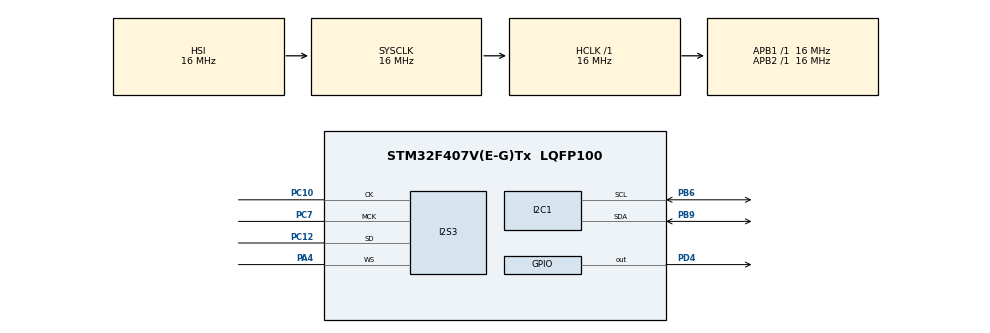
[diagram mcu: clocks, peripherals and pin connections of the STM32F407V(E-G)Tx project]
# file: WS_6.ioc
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Dma.Request0=SPI3_TX
Dma.SPI3_TX.0.Direction=DMA_MEMORY_TO_PERIPH
Dma.SPI3_TX.0.FIFOMode=DMA_FIFOMODE_ENABLE
Dma.SPI3_TX.0.FIFOThreshold=DMA_FIFO_THRESHOLD_FULL
Dma.SPI3_TX.0.Instance=DMA1_Stream5
Dma.SPI3_TX.0.MemBurst=DMA_MBURST_SINGLE
Dma.SPI3_TX.0.MemDataAlignment=DMA_MDATAALIGN_HALFWORD
Dma.SPI3_TX.0.MemInc=DMA_MINC_ENABLE
Dma.SPI3_TX.0.Mode=DMA_CIRCULAR
Dma.SPI3_TX.0.PeriphBurst=DMA_PBURST_SINGLE
Dma.SPI3_TX.0.PeriphDataAlignment=DMA_PDATAALIGN_HALFWORD
Dma.SPI3_TX.0.PeriphInc=DMA_PINC_DISABLE
Dma.SPI3_TX.0.Priority=DMA_PRIORITY_LOW
I2S3.AudioFreq=I2S_AUDIOFREQ_48K
I2S3.ErrorAudioFreq=-2.34 %
I2S3.FullDuplexMode=I2S_FULLDUPLEXMODE_DISABLE
I2S3.Instance=SPI$Index
I2S3.RealAudioFreq=46.875 KHz
I2S3.VirtualMode=I2S_MODE_MASTER
Mcu.Family=STM32F4
Mcu.Name=STM32F407V(E-G)Tx
Mcu.Package=LQFP100
NVIC.DMA1_Stream5_IRQn=true\:0\:0\:false\:false\:true\:false\:true\:true
NVIC.PriorityGroup=NVIC_PRIORITYGROUP_4
PA4.Mode=Half_Duplex_Master
PA4.Signal=I2S3_WS
PB6.Mode=I2C
PB6.Signal=I2C1_SCL
PB9.Mode=I2C
PB9.Signal=I2C1_SDA
PC10.Mode=Half_Duplex_Master
PC10.Signal=I2S3_CK
PC12.Mode=Half_Duplex_Master
PC12.Signal=I2S3_SD
PC7.Mode=Master_Clock_Activated
PC7.Signal=I2S3_MCK
PD4.Signal=GPIO_Output
ProjectManager.HeapSize=0x200
ProjectManager.StackSize=0x400
ProjectManager.TargetToolchain=STM32CubeIDE
RCC.AHBFreq_Value=16000000
RCC.APB1Freq_Value=16000000
RCC.APB2Freq_Value=16000000
RCC.CortexFreq_Value=16000000
RCC.HSE_VALUE=25000000
RCC.HSI_VALUE=16000000
RCC.LSE_VALUE=32768
RCC.SYSCLKFreq_VALUE=16000000
RCC.VCOOutputFreq_Value=192000000
board=custom

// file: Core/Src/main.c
/* USER CODE BEGIN Header */
/**
  ******************************************************************************
  * @file           : main.c
  * @brief          : Main program body
  ******************************************************************************
  * @attention
  *
  * Copyright (c) 2025 STMicroelectronics.
  * All rights reserved.
  *
  * This software is licensed under terms that can be found in the LICENSE file
  * in the root directory of this software component.
  * If no LICENSE file comes with this software, it is provided AS-IS.
  *
  ******************************************************************************
  */
/* USER CODE END Header */
#include "main.h"

/* USER CODE BEGIN PTD */
typedef enum
{
	C4, // 0x0
	C5, // 0x1
	D5, // 0x2
	E5, // 0x3
	F5, // 0x4
	G5, // 0x5
	A5, // 0x6
	B5, // 0x7
	C6, // 0x8
	D6, // 0x9
	E6, // 0xA
	F6, // 0xB
	G6, // 0xC
	A6, // 0xD
	B6, // 0xE
	C7, // 0xF
	MAX_VALUE
} soundToneType;
/* USER CODE END PTD */

/* USER CODE BEGIN PD */
#define CS43L22_I2C_ADDRESS		0x94
#define I2C_TIMEOUT				10
/* USER CODE END PD */

I2C_HandleTypeDef hi2c1;

I2S_HandleTypeDef hi2s3;
DMA_HandleTypeDef hdma_spi3_tx;

/* USER CODE BEGIN PV */
int16_t dataI2S[100] = {0};
/* USER CODE END PV */

void SystemClock_Config(void);
static void MX_GPIO_Init(void);
static void MX_DMA_Init(void);
static void MX_I2C1_Init(void);
static void MX_I2S3_Init(void);

/* USER CODE BEGIN 0 */
void CS43L22_Init(void)
{
	// Enable chip
	HAL_GPIO_WritePin(GPIOD, GPIO_PIN_4, GPIO_PIN_SET);

	//
	// Initialization
	//
	uint8_t TxBuffer[2];

	TxBuffer[0] = 0x0D;
	TxBuffer[1] = 0x01;
	HAL_I2C_Master_Transmit(&hi2c1, CS43L22_I2C_ADDRESS, (uint8_t*) &TxBuffer, 2, I2C_TIMEOUT);

	TxBuffer[0] = 0x00;
	TxBuffer[1] = 0x99;
	HAL_I2C_Master_Transmit(&hi2c1, CS43L22_I2C_ADDRESS, (uint8_t*) &TxBuffer, 2, I2C_TIMEOUT);

	TxBuffer[0] = 0x47;
	TxBuffer[1] = 0x80;
	HAL_I2C_Master_Transmit(&hi2c1, CS43L22_I2C_ADDRESS, (uint8_t*) &TxBuffer, 2, I2C_TIMEOUT);

	TxBuffer[0] = 0x32;
	TxBuffer[1] = 0xFF;
	HAL_I2C_Master_Transmit(&hi2c1, CS43L22_I2C_ADDRESS, (uint8_t*) &TxBuffer, 2, I2C_TIMEOUT);

	TxBuffer[0] = 0x32;
	TxBuffer[1] = 0x7F;
	HAL_I2C_Master_Transmit(&hi2c1, CS43L22_I2C_ADDRESS, (uint8_t*) &TxBuffer, 2, I2C_TIMEOUT);

	TxBuffer[0] = 0x00;
	TxBuffer[1] = 0x00;
	HAL_I2C_Master_Transmit(&hi2c1, CS43L22_I2C_ADDRESS, (uint8_t*) &TxBuffer, 2, I2C_TIMEOUT);

	TxBuffer[0] = 0x04;
	TxBuffer[1] = 0xAF;
	HAL_I2C_Master_Transmit(&hi2c1, CS43L22_I2C_ADDRESS, (uint8_t*) &TxBuffer, 2, I2C_TIMEOUT);

	TxBuffer[0] = 0x0D;
	TxBuffer[1] = 0x70;
	HAL_I2C_Master_Transmit(&hi2c1, CS43L22_I2C_ADDRESS, (uint8_t*) &TxBuffer, 2, I2C_TIMEOUT);

	TxBuffer[0] = 0x05;
	TxBuffer[1] = 0x81;
	HAL_I2C_Master_Transmit(&hi2c1, CS43L22_I2C_ADDRESS, (uint8_t*) &TxBuffer, 2, I2C_TIMEOUT);

	TxBuffer[0] = 0x06;
	TxBuffer[1] = 0x07;
	HAL_I2C_Master_Transmit(&hi2c1, CS43L22_I2C_ADDRESS, (uint8_t*) &TxBuffer, 2, I2C_TIMEOUT);

	TxBuffer[0] = 0x0A;
	TxBuffer[1] = 0x00;
	HAL_I2C_Master_Transmit(&hi2c1, CS43L22_I2C_ADDRESS, (uint8_t*) &TxBuffer, 2, I2C_TIMEOUT);

	TxBuffer[0] = 0x27;
	TxBuffer[1] = 0x00;
	HAL_I2C_Master_Transmit(&hi2c1, CS43L22_I2C_ADDRESS, (uint8_t*) &TxBuffer, 2, I2C_TIMEOUT);

	TxBuffer[0] = 0x1A;
	TxBuffer[1] = 0x0A;
	HAL_I2C_Master_Transmit(&hi2c1, CS43L22_I2C_ADDRESS, (uint8_t*) &TxBuffer, 2, I2C_TIMEOUT);

	TxBuffer[0] = 0x1B;
	TxBuffer[1] = 0x0A;
	HAL_I2C_Master_Transmit(&hi2c1, CS43L22_I2C_ADDRESS, (uint8_t*) &TxBuffer, 2, I2C_TIMEOUT);

	TxBuffer[0] = 0x1F;
	TxBuffer[1] = 0x0F;
	HAL_I2C_Master_Transmit(&hi2c1, CS43L22_I2C_ADDRESS, (uint8_t*) &TxBuffer, 2, I2C_TIMEOUT);

	TxBuffer[0] = 0x02;
	TxBuffer[1] = 0x9E;
	HAL_I2C_Master_Transmit(&hi2c1, CS43L22_I2C_ADDRESS, (uint8_t*) &TxBuffer, 2, I2C_TIMEOUT);
}

void CS43L22_Beep(soundToneType pitch, uint32_t duration_ms)
{
	uint8_t TxBuffer[2];

	// Set volume and off time
	TxBuffer[0] = 0x1D;		// Register address
	TxBuffer[1] = 0x00;		// Value (volume and off time)
	HAL_I2C_Master_Transmit(&hi2c1, CS43L22_I2C_ADDRESS, (uint8_t*) &TxBuffer, 2, I2C_TIMEOUT);

	// Set sound frequency
	TxBuffer[0] = 0x1C;		// Register address
	switch (pitch)
	{
	        case C4:
				TxBuffer[1] = 0x00;    // Value (frequency and on time)
				break;
			case C5:
				TxBuffer[1] = 0x10;
				break;
			case D5:
				TxBuffer[1] = 0x20;
				break;
			case E5:
				TxBuffer[1] = 0x30;
				break;
			case F5:
				TxBuffer[1] = 0x40;
				break;
			case G5:
				TxBuffer[1] = 0x50;
				break;
			case A5:
				TxBuffer[1] = 0x60;
				break;
			case B5:
				TxBuffer[1] = 0x70;
				break;
			case C6:
				TxBuffer[1] = 0x80;
				break;
			case D6:
				TxBuffer[1] = 0x90;
				break;
			case E6:
				TxBuffer[1] = 0xA0;
				break;
			case F6:
				TxBuffer[1] = 0xB0;
				break;
			case G6:
				TxBuffer[1] = 0xC0;
				break;
			case A6:
				TxBuffer[1] = 0xD0;
				break;
			case B6:
				TxBuffer[1] = 0xE0;
				break;
			case C7:
				TxBuffer[1] = 0xF0;
				break;
		// Assume C4 for all other cases
		case MAX_VALUE:
		default:
			TxBuffer[1] = 0x00;		// Value (frequency and on time)
			break;
	}
	HAL_I2C_Master_Transmit(&hi2c1, CS43L22_I2C_ADDRESS, (uint8_t*) &TxBuffer, 2, I2C_TIMEOUT);

	// Enable continuous mode (SOUND STARTED)
	TxBuffer[0] = 0x1E;		// Register address
	TxBuffer[1] = 0xC0;		// Value (beep and tone configuration)
	HAL_I2C_Master_Transmit(&hi2c1, CS43L22_I2C_ADDRESS, (uint8_t*) &TxBuffer, 2, I2C_TIMEOUT);

	// Playing...
	HAL_Delay(duration_ms);

	// Disable continuous mode (SOUND STOPED)
	TxBuffer[0] = 0x1E;		// Register address
	TxBuffer[1] = 0x00;		// Value (beep and tone configuration)
	HAL_I2C_Master_Transmit(&hi2c1, CS43L22_I2C_ADDRESS, (uint8_t*) &TxBuffer, 2, I2C_TIMEOUT);
}
/* USER CODE END 0 */

int main(void)
{

  /* MCU Configuration--------------------------------------------------------*/

  /* Reset of all peripherals, Initializes the Flash interface and the Systick. */
  HAL_Init();

  /* Configure the system clock */
  SystemClock_Config();

  /* Initialize all configured peripherals */
  MX_GPIO_Init();
  MX_DMA_Init();
  MX_I2C1_Init();
  MX_I2S3_Init();
  /* USER CODE BEGIN 2 */
  // Init DAC
    CS43L22_Init();

    // Transmit empty data
    HAL_I2S_Transmit_DMA(&hi2s3, (uint16_t *)dataI2S, 100);
  /* USER CODE END 2 */

  /* Infinite loop */
  /* USER CODE BEGIN WHILE */
    while (1)
    {
    	    CS43L22_Beep(E5, 287);
    	    CS43L22_Beep(E5, 287);
    	    CS43L22_Beep(E5, 575);

    	    CS43L22_Beep(E5, 287);
    	    CS43L22_Beep(E5, 287);
    	    CS43L22_Beep(E5, 575);

    	    CS43L22_Beep(E5, 287);
    	    CS43L22_Beep(G5, 287);
    	    CS43L22_Beep(C5, 287);
    	    CS43L22_Beep(D5, 287);

    	    CS43L22_Beep(E5, 1150);

    	    CS43L22_Beep(F5, 287);
    	    CS43L22_Beep(F5, 287);
    	    CS43L22_Beep(F5, 287);
    	    CS43L22_Beep(F5, 287);

    	    CS43L22_Beep(F5, 287);
    	    CS43L22_Beep(E5, 287);
    	    CS43L22_Beep(E5, 287);
    	    CS43L22_Beep(E5, 142);
    	    CS43L22_Beep(E5, 142);

    	    CS43L22_Beep(E5, 287);
    	    CS43L22_Beep(D5, 287);
    	    CS43L22_Beep(D5, 287);
    	    CS43L22_Beep(E5, 287);

    	    CS43L22_Beep(D5, 575);
    	    CS43L22_Beep(G5, 575);

    	    HAL_Delay(2000);
    /* USER CODE END WHILE */

  }
}

void SystemClock_Config(void)
{
  RCC_OscInitTypeDef RCC_OscInitStruct = {0};
  RCC_ClkInitTypeDef RCC_ClkInitStruct = {0};

  /** Macro to configure the PLL multiplication factor
  */
  __HAL_RCC_PLL_PLLM_CONFIG(16);

  /** Macro to configure the PLL clock source
  */
  __HAL_RCC_PLL_PLLSOURCE_CONFIG(RCC_PLLSOURCE_HSI);

  /** Configure the main internal regulator output voltage
  */
  __HAL_RCC_PWR_CLK_ENABLE();
  __HAL_PWR_VOLTAGESCALING_CONFIG(PWR_REGULATOR_VOLTAGE_SCALE1);

  /** Initializes the RCC Oscillators according to the specified parameters
  * in the RCC_OscInitTypeDef structure.
  */
  RCC_OscInitStruct.OscillatorType = RCC_OSCILLATORTYPE_HSI;
  RCC_OscInitStruct.HSIState = RCC_HSI_ON;
  RCC_OscInitStruct.HSICalibrationValue = RCC_HSICALIBRATION_DEFAULT;
  RCC_OscInitStruct.PLL.PLLState = RCC_PLL_NONE;
  RCC_OscInitStruct.PLL.PLLSource = RCC_PLLSOURCE_HSI;
  if (HAL_RCC_OscConfig(&RCC_OscInitStruct) != HAL_OK)
  {
    Error_Handler();
  }

  /** Initializes the CPU, AHB and APB buses clocks
  */
  RCC_ClkInitStruct.ClockType = RCC_CLOCKTYPE_HCLK|RCC_CLOCKTYPE_SYSCLK
                              |RCC_CLOCKTYPE_PCLK1|RCC_CLOCKTYPE_PCLK2;
  RCC_ClkInitStruct.SYSCLKSource = RCC_SYSCLKSOURCE_HSI;
  RCC_ClkInitStruct.AHBCLKDivider = RCC_SYSCLK_DIV1;
  RCC_ClkInitStruct.APB1CLKDivider = RCC_HCLK_DIV1;
  RCC_ClkInitStruct.APB2CLKDivider = RCC_HCLK_DIV1;

  if (HAL_RCC_ClockConfig(&RCC_ClkInitStruct, FLASH_LATENCY_0) != HAL_OK)
  {
    Error_Handler();
  }
}

static void MX_I2C1_Init(void)
{

  hi2c1.Instance = I2C1;
  hi2c1.Init.ClockSpeed = 100000;
  hi2c1.Init.DutyCycle = I2C_DUTYCYCLE_2;
  hi2c1.Init.OwnAddress1 = 0;
  hi2c1.Init.AddressingMode = I2C_ADDRESSINGMODE_7BIT;
  hi2c1.Init.DualAddressMode = I2C_DUALADDRESS_DISABLE;
  hi2c1.Init.OwnAddress2 = 0;
  hi2c1.Init.GeneralCallMode = I2C_GENERALCALL_DISABLE;
  hi2c1.Init.NoStretchMode = I2C_NOSTRETCH_DISABLE;
  if (HAL_I2C_Init(&hi2c1) != HAL_OK)
  {
    Error_Handler();
  }

}

static void MX_I2S3_Init(void)
{

  hi2s3.Instance = SPI3;
  hi2s3.Init.Mode = I2S_MODE_MASTER_TX;
  hi2s3.Init.Standard = I2S_STANDARD_PHILIPS;
  hi2s3.Init.DataFormat = I2S_DATAFORMAT_16B;
  hi2s3.Init.MCLKOutput = I2S_MCLKOUTPUT_ENABLE;
  hi2s3.Init.AudioFreq = I2S_AUDIOFREQ_48K;
  hi2s3.Init.CPOL = I2S_CPOL_LOW;
  hi2s3.Init.ClockSource = I2S_CLOCK_PLL;
  hi2s3.Init.FullDuplexMode = I2S_FULLDUPLEXMODE_DISABLE;
  if (HAL_I2S_Init(&hi2s3) != HAL_OK)
  {
    Error_Handler();
  }

}

static void MX_DMA_Init(void)
{

  /* DMA controller clock enable */
  __HAL_RCC_DMA1_CLK_ENABLE();

  /* DMA interrupt init */
  /* DMA1_Stream5_IRQn interrupt configuration */
  HAL_NVIC_SetPriority(DMA1_Stream5_IRQn, 0, 0);
  HAL_NVIC_EnableIRQ(DMA1_Stream5_IRQn);

}

static void MX_GPIO_Init(void)
{
  GPIO_InitTypeDef GPIO_InitStruct = {0};

  /* GPIO Ports Clock Enable */
  __HAL_RCC_GPIOA_CLK_ENABLE();
  __HAL_RCC_GPIOC_CLK_ENABLE();
  __HAL_RCC_GPIOD_CLK_ENABLE();
  __HAL_RCC_GPIOB_CLK_ENABLE();

  /*Configure GPIO pin Output Level */
  HAL_GPIO_WritePin(GPIOD, GPIO_PIN_4, GPIO_PIN_RESET);

  /*Configure GPIO pin : PD4 */
  GPIO_InitStruct.Pin = GPIO_PIN_4;
  GPIO_InitStruct.Mode = GPIO_MODE_OUTPUT_PP;
  GPIO_InitStruct.Pull = GPIO_NOPULL;
  GPIO_InitStruct.Speed = GPIO_SPEED_FREQ_LOW;
  HAL_GPIO_Init(GPIOD, &GPIO_InitStruct);

}

void Error_Handler(void)
{
  __disable_irq();
  while (1)
  {
  }
}
